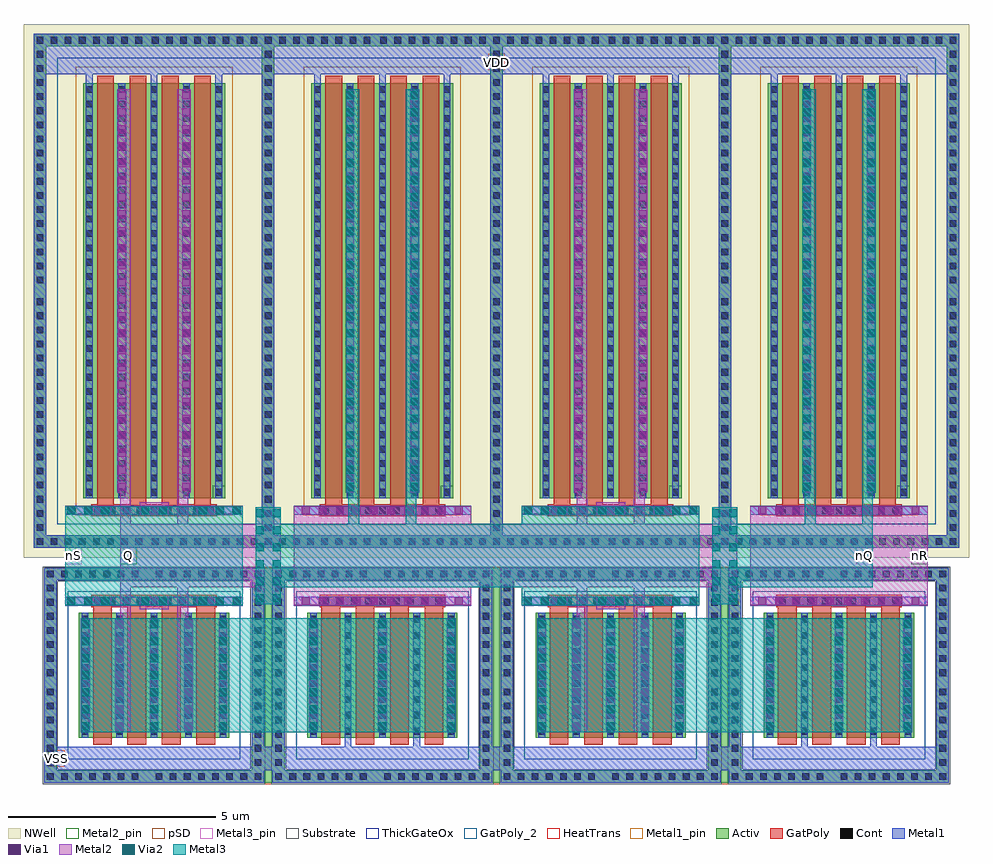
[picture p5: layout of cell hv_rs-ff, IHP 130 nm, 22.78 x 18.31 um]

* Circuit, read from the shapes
.subckt hv_rs-ff Q VDD VSS nQ nR nS
XM1 Q nS n1 VSS sg13_hv_nmos w=3u l=0.45u m=4
XM2 VSS nQ n1 VSS sg13_hv_nmos w=3u l=0.45u m=4
XM3 nQ Q n2 VSS sg13_hv_nmos w=3u l=0.45u m=4
XM4 VSS nR n2 VSS sg13_hv_nmos w=3u l=0.45u m=4
XM5 Q nS VDD VDD sg13_hv_pmos w=10u l=0.4u m=4
XM6 Q nQ VDD VDD sg13_hv_pmos w=10u l=0.4u m=4
XM7 nQ Q VDD VDD sg13_hv_pmos w=10u l=0.4u m=4
XM8 nQ nR VDD VDD sg13_hv_pmos w=10u l=0.4u m=4
.ends

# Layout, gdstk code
from math import pi, radians
import gdstk
lib = gdstk.Library(unit=1e-6, precision=1e-09)
def R(c, l, rs):  # rectangles x0, y0, x1, y1
    for r in rs: c.add(gdstk.rectangle(r[:2], r[2:], *l))
def A(c, l, x, y, w, h, nx, ny, dx, dy):  # array of equal rectangles
    R(c, l, [(x+i*dx, y+j*dy, x+i*dx+w, y+j*dy+h) for i in range(nx) for j in range(ny)])
def P(c, l, *ps):  # polygons
    for p in ps: c.add(gdstk.Polygon(p, *l))
Activ = (1, 0)
GatPoly = (5, 0)
GatPoly_2 = (5, 2)
Cont = (6, 0)
Metal1 = (8, 0)
Metal1_pin = (8, 2)
Metal2 = (10, 0)
Metal2_pin = (10, 2)
pSD = (14, 0)
Via1 = (19, 0)
Via2 = (29, 0)
Metal3 = (30, 0)
Metal3_pin = (30, 2)
NWell = (31, 0)
Substrate = (40, 0)
ThickGateOx = (44, 0)
HeatTrans = (51, 0)

via_stack_46 = lib.new_cell('via_stack$46')
R(via_stack_46, Metal1, [(-0.105,-1.375,0.105,1.375)])
R(via_stack_46, Metal2, [(-0.1,-1.375,0.1,1.375)])
A(via_stack_46, Via1, -0.095, -1.325, 0.19, 0.19, 1, 7, 0, 0.41)

via_stack_1_3 = lib.new_cell('via_stack$1$3')
R(via_stack_1_3, Metal1, [(-0.105,-1.375,0.105,1.375)])
R(via_stack_1_3, Metal2, [(-0.1,-1.375,0.1,1.375)])
A(via_stack_1_3, Via1, -0.095, -1.325, 0.19, 0.19, 1, 7, 0, 0.41)
A(via_stack_1_3, Via2, -0.095, -1.325, 0.19, 0.19, 1, 7, 0, 0.41)
R(via_stack_1_3, Metal3, [(-0.1,-1.375,0.1,1.375)])

nmoshv_12 = lib.new_cell('nmosHV$12')
A(nmoshv_12, Activ, 0, 0, 0.3, 0.3, 5, 1, 0.83, 0)
R(nmoshv_12, Activ, [(-0.84,-0.79,-0.54,3.79), (4.16,-0.79,4.46,3.79), (0,0,3.62,3), (-0.84,3.79,4.46,4.09)])
P(nmoshv_12, Activ, [(-0.84,-1.09),(-0.84,3.79),(-0.54,3.79),(-0.54,-0.79),(4.16,-0.79),(4.16,3.79),(-0.84,3.79),(-0.84,4.09),(4.46,4.09),(4.46,-1.09)])
A(nmoshv_12, GatPoly, 0.34, -0.18, 0.45, 3.36, 4, 1, 0.83, 0)
R(nmoshv_12, GatPoly_2, [(0.34,-0.18,0.79,3.18)])
A(nmoshv_12, Cont, -0.77, -1.02, 0.16, 0.16, 7, 2, 0.34, 4.88)
A(nmoshv_12, Cont, 1.85, -1.02, 0.16, 0.16, 8, 2, 0.34, 4.88)
A(nmoshv_12, Cont, -0.77, -0.68, 0.16, 0.16, 1, 6, 0, 0.34)
A(nmoshv_12, Cont, 4.23, -0.68, 0.16, 0.16, 1, 6, 0, 0.34)
A(nmoshv_12, Cont, 0.07, 0.07, 0.16, 0.16, 5, 7, 0.83, 0.385)
A(nmoshv_12, Cont, -0.77, 1.48, 0.16, 0.16, 1, 7, 0, 0.34)
A(nmoshv_12, Cont, 4.23, 1.48, 0.16, 0.16, 1, 7, 0, 0.34)
A(nmoshv_12, Cont, 0.07, 2.77, 0.16, 0.16, 5, 1, 0.83, 0)
A(nmoshv_12, Metal1, 0.07, 0, 0.16, 3, 5, 1, 0.83, 0)
R(nmoshv_12, Metal1, [(-0.84,-1.09,4.46,-0.79), (-0.84,-0.79,-0.54,3.79), (4.16,-0.79,4.46,3.79), (-0.84,3.79,4.46,4.09)])
R(nmoshv_12, Metal1_pin, [(0.07,0,0.23,3), (0.9,0,1.06,3)])
R(nmoshv_12, pSD, [(-0.87,-0.76,-0.51,3.76), (4.13,-0.76,4.49,3.76), (-0.87,3.76,4.49,4.12)])
P(nmoshv_12, pSD, [(-0.87,-1.12),(-0.87,3.76),(-0.51,3.76),(-0.51,-0.76),(4.13,-0.76),(4.13,3.76),(-0.87,3.76),(-0.87,4.12),(4.49,4.12),(4.49,-1.12)])
R(nmoshv_12, Substrate, [(-0.87,-0.76,-0.51,3.76), (4.13,-0.76,4.49,3.76), (-0.87,3.76,4.49,4.12)])
P(nmoshv_12, Substrate, [(-0.87,-1.12),(-0.87,3.76),(-0.51,3.76),(-0.51,-0.76),(4.13,-0.76),(4.13,3.76),(-0.87,3.76),(-0.87,4.12),(4.49,4.12),(4.49,-1.12)])
R(nmoshv_12, ThickGateOx, [(-0.27,-0.52,3.89,3.52)])
A(nmoshv_12, HeatTrans, 0.34, -0.18, 0.45, 3.36, 4, 1, 0.83, 0)
nmoshv_12.add(gdstk.Label('nmosHV', (0.565,1.5), layer=63, texttype=0))
nmoshv_12.add(gdstk.Label('sub!', (1.81,-0.94), layer=63, texttype=0))
nmoshv_12.add(gdstk.Label('nmosHV', (0.565,1.5), layer=51, texttype=0))
nmoshv_12.add(gdstk.Label('nmosHV', (1.395,1.5), layer=51, texttype=0))
nmoshv_12.add(gdstk.Label('nmosHV', (2.225,1.5), layer=51, texttype=0))
nmoshv_12.add(gdstk.Label('nmosHV', (3.055,1.5), layer=51, texttype=0))

via_stack_2_5 = lib.new_cell('via_stack$2$5')
R(via_stack_2_5, Metal1, [(-0.105,-4.86,0.105,4.86)])
R(via_stack_2_5, Metal2, [(-0.1,-4.86,0.1,4.86)])
A(via_stack_2_5, Via1, -0.095, -4.81, 0.19, 0.19, 1, 24, 0, 0.41)

via_stack_3_5 = lib.new_cell('via_stack$3$5')
R(via_stack_3_5, GatPoly, [(-0.15,-1.51,0.15,1.51)])
A(via_stack_3_5, Cont, -0.08, -1.44, 0.16, 0.16, 1, 9, 0, 0.34)
R(via_stack_3_5, Metal1, [(-0.08,-1.49,0.08,1.49)])

pmoshv_8 = lib.new_cell('pmosHV$8')
A(pmoshv_8, Activ, 0, 0, 0.3, 0.3, 5, 1, 0.78, 0)
R(pmoshv_8, Activ, [(-1.19,-0.89,-0.89,10.89), (4.31,-0.89,4.61,10.89), (0,0,3.42,10), (-1.19,10.89,4.61,11.19)])
P(pmoshv_8, Activ, [(-1.19,-1.19),(-1.19,10.89),(-0.89,10.89),(-0.89,-0.89),(4.31,-0.89),(4.31,10.89),(-1.19,10.89),(-1.19,11.19),(4.61,11.19),(4.61,-1.19)])
A(pmoshv_8, GatPoly, 0.34, -0.18, 0.4, 10.36, 4, 1, 0.78, 0)
R(pmoshv_8, GatPoly_2, [(0.34,-0.18,0.74,10.18)])
A(pmoshv_8, Cont, -1.12, -1.12, 0.16, 0.16, 8, 2, 0.34, 12.08)
A(pmoshv_8, Cont, 1.66, -1.12, 0.16, 0.16, 9, 2, 0.34, 12.08)
A(pmoshv_8, Cont, -1.12, -0.78, 0.16, 0.16, 1, 17, 0, 0.34)
A(pmoshv_8, Cont, 4.38, -0.78, 0.16, 0.16, 1, 17, 0, 0.34)
A(pmoshv_8, Cont, 0.07, 0.07, 0.16, 0.16, 5, 4, 0.78, 0.345)
A(pmoshv_8, Cont, 0.07, 1.455, 0.16, 0.16, 5, 3, 0.78, 0.345)
A(pmoshv_8, Cont, 0.07, 2.495, 0.16, 0.16, 5, 4, 0.78, 0.345)
A(pmoshv_8, Cont, 0.07, 3.88, 0.16, 0.16, 5, 3, 0.78, 0.345)
A(pmoshv_8, Cont, 0.07, 4.92, 0.16, 0.16, 5, 4, 0.78, 0.345)
A(pmoshv_8, Cont, -1.12, 5.18, 0.16, 0.16, 1, 17, 0, 0.34)
A(pmoshv_8, Cont, 4.38, 5.18, 0.16, 0.16, 1, 17, 0, 0.34)
A(pmoshv_8, Cont, 0.07, 6.305, 0.16, 0.16, 5, 3, 0.78, 0.345)
A(pmoshv_8, Cont, 0.07, 7.345, 0.16, 0.16, 5, 4, 0.78, 0.345)
A(pmoshv_8, Cont, 0.07, 8.73, 0.16, 0.16, 5, 3, 0.78, 0.345)
A(pmoshv_8, Cont, 0.07, 9.77, 0.16, 0.16, 5, 1, 0.78, 0)
A(pmoshv_8, Metal1, 0.07, 0, 0.16, 10, 5, 1, 0.78, 0)
R(pmoshv_8, Metal1, [(-1.19,-1.19,4.61,-0.89), (-1.19,-0.89,-0.89,10.89), (4.31,-0.89,4.61,10.89), (-1.19,10.89,4.61,11.19)])
R(pmoshv_8, Metal1_pin, [(0.07,0,0.23,10), (0.85,0,1.01,10)])
R(pmoshv_8, pSD, [(-0.18,-0.4,3.6,10.4)])
R(pmoshv_8, NWell, [(-1.43,-1.43,4.85,11.43), (-0.62,-0.62,4.04,10.62)])
R(pmoshv_8, Substrate, [(3.12,0,3.42,0.3)])
R(pmoshv_8, ThickGateOx, [(-0.62,-0.62,4.04,10.62)])
A(pmoshv_8, HeatTrans, 0.34, -0.18, 0.4, 10.36, 4, 1, 0.78, 0)
pmoshv_8.add(gdstk.Label('pmosHV', (0.54,5), layer=63, texttype=0))
pmoshv_8.add(gdstk.Label('well', (1.71,-1.04), layer=63, texttype=0))
pmoshv_8.add(gdstk.Label('pmos', (0.54,5), layer=51, texttype=0))
pmoshv_8.add(gdstk.Label('pmos', (1.32,5), layer=51, texttype=0))
pmoshv_8.add(gdstk.Label('pmos', (2.1,5), layer=51, texttype=0))
pmoshv_8.add(gdstk.Label('pmos', (2.88,5), layer=51, texttype=0))

via_stack_4_10 = lib.new_cell('via_stack$4$10')
R(via_stack_4_10, Metal1, [(-0.105,-0.35,0.105,0.35)])
R(via_stack_4_10, Metal2, [(-0.1,-0.35,0.1,0.35)])
R(via_stack_4_10, Via1, [(-0.095,-0.3,0.095,-0.11), (-0.095,0.11,0.095,0.3)])
R(via_stack_4_10, Via2, [(-0.095,-0.3,0.095,-0.11), (-0.095,0.11,0.095,0.3)])
R(via_stack_4_10, Metal3, [(-0.1,-0.35,0.1,0.35)])

via_stack_5_3 = lib.new_cell('via_stack$5$3')
R(via_stack_5_3, Metal1, [(-0.105,-0.555,0.105,0.555)])
R(via_stack_5_3, Metal2, [(-0.1,-0.555,0.1,0.555)])
A(via_stack_5_3, Via1, -0.095, -0.505, 0.19, 0.19, 1, 3, 0, 0.41)
A(via_stack_5_3, Via2, -0.095, -0.505, 0.19, 0.19, 1, 3, 0, 0.41)
R(via_stack_5_3, Metal3, [(-0.1,-0.555,0.1,0.555)])

via_stack_11_5 = lib.new_cell('via_stack$11$5')
R(via_stack_11_5, Metal1, [(-0.105,-4.86,0.105,4.86)])
R(via_stack_11_5, Metal2, [(-0.1,-4.86,0.1,4.86)])
A(via_stack_11_5, Via1, -0.095, -4.81, 0.19, 0.19, 1, 24, 0, 0.41)
A(via_stack_11_5, Via2, -0.095, -4.81, 0.19, 0.19, 1, 24, 0, 0.41)
R(via_stack_11_5, Metal3, [(-0.1,-4.86,0.1,4.86)])

via_stack_10_6 = lib.new_cell('via_stack$10$6')
R(via_stack_10_6, Metal1, [(-0.105,-1.99,0.105,1.99)])
R(via_stack_10_6, Metal2, [(-0.1,-1.99,0.1,1.99)])
A(via_stack_10_6, Via1, -0.095, -1.94, 0.19, 0.19, 1, 10, 0, 0.41)

via_stack_8_6 = lib.new_cell('via_stack$8$6')
R(via_stack_8_6, Metal2, [(-1.17,-0.305,1.17,0.305)])
A(via_stack_8_6, Via2, -1.12, -0.3, 0.19, 0.19, 6, 2, 0.41, 0.41)
R(via_stack_8_6, Metal3, [(-1.17,-0.305,1.17,0.305)])

hv_rs_ff = lib.new_cell('hv_rs-ff')
A(hv_rs_ff, Activ, 2.65, -5.47, 0.2, 5.18, 3, 1, 5.5, 0)
A(hv_rs_ff, Metal1, -2.14, -1.2, 4.28, 0.21, 4, 2, 5.5, 2.19)
A(hv_rs_ff, Metal1, -1.64, 11.38, 0.16, 0.22, 3, 1, 1.56, 0)
A(hv_rs_ff, Metal1, 3.86, 11.38, 0.16, 0.22, 3, 1, 1.56, 0)
A(hv_rs_ff, Metal1, 9.36, 11.38, 0.16, 0.22, 3, 1, 1.56, 0)
A(hv_rs_ff, Metal1, 14.86, 11.38, 0.16, 0.22, 3, 1, 1.56, 0)
R(hv_rs_ff, Metal1, [(-2.35,-5.17,18.85,-4.6), (4.59,-4.6,4.75,-4.38), (6.25,-4.6,6.41,-4.38), (15.59,-4.6,15.75,-4.38), (17.25,-4.6,17.41,-4.38), (-2.6,11.6,19.1,12.27)])
R(hv_rs_ff, Metal1_pin, [(-2.555,-5.09,-2.155,-4.69), (8.05,11.69,8.45,12.09)])
R(hv_rs_ff, Metal2, [(-0.82,-4.255,-0.56,11.24), (0.56,-4.255,0.82,11.24), (10.18,-4.255,10.44,11.24), (11.56,-4.255,11.82,11.24), (-0.35,-1.29,0.35,-0.995), (10.65,-1.29,11.35,-0.995), (3.36,-1.195,7.64,1.195), (14.36,-1.195,18.64,1.195), (-0.82,-0.755,3.055,0.755), (7.64,-0.755,14.055,0.755), (-0.35,0.995,0.35,1.29), (10.65,0.995,11.35,1.29)])
R(hv_rs_ff, Metal2_pin, [(-0.82,-0.2,-0.42,0.2), (18.24,-0.2,18.64,0.2)])
A(hv_rs_ff, pSD, 2.68, -5.5, 0.14, 5.24, 3, 1, 5.5, 0)
R(hv_rs_ff, Metal3, [(-1.76,-4.255,7.26,-1.505), (9.24,-4.255,18.26,-1.505), (-2.14,-1.195,2.14,1.195), (8.86,-1.195,13.14,1.195), (2.445,-0.755,8.86,0.755), (4.68,-0.755,4.94,11.24), (6.06,-0.755,6.32,11.24), (13.445,-0.755,17.32,0.755), (15.68,-0.755,15.94,11.24), (17.06,-0.755,17.32,11.24)])
R(hv_rs_ff, Metal3_pin, [(-2.14,-0.2,-1.74,0.2), (16.92,-0.2,17.32,0.2)])
A(hv_rs_ff, ThickGateOx, 2.33, 0.76, 0.84, 11.24, 3, 1, 5.5, 0)
hv_rs_ff.add(gdstk.Reference(via_stack_46, (-0.83,-2.88)))
hv_rs_ff.add(gdstk.Reference(via_stack_1_3, (-1.66,-2.88), rotation=pi))
hv_rs_ff.add(gdstk.Reference(via_stack_1_3, (0,-2.88)))
hv_rs_ff.add(gdstk.Reference(nmoshv_12, (-1.81,-4.38)))
hv_rs_ff.add(gdstk.Reference(via_stack_46, (0.83,-2.88)))
hv_rs_ff.add(gdstk.Reference(via_stack_1_3, (1.66,-2.88)))
hv_rs_ff.add(gdstk.Reference(via_stack_2_5, (0.78,6.38), rotation=pi))
hv_rs_ff.add(gdstk.Reference(via_stack_2_5, (-0.78,6.38), rotation=pi))
hv_rs_ff.add(gdstk.Reference(via_stack_3_5, (0,-1.095), rotation=pi/2))
hv_rs_ff.add(gdstk.Reference(via_stack_3_5, (0,1.095), rotation=pi/2))
hv_rs_ff.add(gdstk.Reference(pmoshv_8, (-1.71,1.38)))
hv_rs_ff.add(gdstk.Reference(via_stack_1_3, (3.84,-2.88), rotation=pi))
hv_rs_ff.add(gdstk.Reference(via_stack_4_10, (0,-1.095), rotation=pi/2))
hv_rs_ff.add(gdstk.Reference(via_stack_5_3, (-1.585,-1.095), rotation=pi/2))
hv_rs_ff.add(gdstk.Reference(via_stack_5_3, (1.585,-1.095), rotation=pi/2))
hv_rs_ff.add(gdstk.Reference(via_stack_4_10, (0,1.095), rotation=3*pi/2, x_reflection=True))
hv_rs_ff.add(gdstk.Reference(via_stack_5_3, (-1.585,1.095), rotation=3*pi/2, x_reflection=True))
hv_rs_ff.add(gdstk.Reference(via_stack_5_3, (1.585,1.095), rotation=3*pi/2, x_reflection=True))
hv_rs_ff.add(gdstk.Reference(via_stack_1_3, (5.5,-2.88)))
hv_rs_ff.add(gdstk.Reference(nmoshv_12, (3.69,-4.38)))
hv_rs_ff.add(gdstk.Reference(via_stack_1_3, (7.16,-2.88)))
hv_rs_ff.add(gdstk.Reference(via_stack_11_5, (6.28,6.38), rotation=pi))
hv_rs_ff.add(gdstk.Reference(via_stack_11_5, (4.72,6.38), rotation=pi))
hv_rs_ff.add(gdstk.Reference(via_stack_3_5, (5.5,-1.095), rotation=pi/2))
hv_rs_ff.add(gdstk.Reference(pmoshv_8, (3.79,1.38)))
hv_rs_ff.add(gdstk.Reference(via_stack_46, (10.17,-2.88)))
hv_rs_ff.add(gdstk.Reference(via_stack_1_3, (9.34,-2.88), rotation=pi))
hv_rs_ff.add(gdstk.Reference(via_stack_10_6, (5.5,1.095), rotation=3*pi/2, x_reflection=True))
hv_rs_ff.add(gdstk.Reference(via_stack_1_3, (11,-2.88)))
hv_rs_ff.add(gdstk.Reference(nmoshv_12, (9.19,-4.38)))
hv_rs_ff.add(gdstk.Reference(via_stack_3_5, (5.5,1.095), rotation=pi/2))
hv_rs_ff.add(gdstk.Reference(via_stack_8_6, (2.75,0), rotation=pi/2))
hv_rs_ff.add(gdstk.Reference(via_stack_10_6, (5.5,-1.095), rotation=pi/2))
hv_rs_ff.add(gdstk.Reference(via_stack_46, (11.83,-2.88)))
hv_rs_ff.add(gdstk.Reference(via_stack_1_3, (12.66,-2.88)))
hv_rs_ff.add(gdstk.Reference(via_stack_2_5, (11.78,6.38), rotation=pi))
hv_rs_ff.add(gdstk.Reference(via_stack_2_5, (10.22,6.38), rotation=pi))
hv_rs_ff.add(gdstk.Reference(via_stack_3_5, (11,-1.095), rotation=pi/2))
hv_rs_ff.add(gdstk.Reference(via_stack_3_5, (11,1.095), rotation=pi/2))
hv_rs_ff.add(gdstk.Reference(pmoshv_8, (9.29,1.38)))
hv_rs_ff.add(gdstk.Reference(via_stack_1_3, (14.84,-2.88), rotation=pi))
hv_rs_ff.add(gdstk.Reference(via_stack_4_10, (11,-1.095), rotation=pi/2))
hv_rs_ff.add(gdstk.Reference(via_stack_5_3, (9.415,-1.095), rotation=pi/2))
hv_rs_ff.add(gdstk.Reference(via_stack_5_3, (12.585,-1.095), rotation=pi/2))
hv_rs_ff.add(gdstk.Reference(via_stack_4_10, (11,1.095), rotation=3*pi/2, x_reflection=True))
hv_rs_ff.add(gdstk.Reference(via_stack_5_3, (9.415,1.095), rotation=3*pi/2, x_reflection=True))
hv_rs_ff.add(gdstk.Reference(via_stack_5_3, (12.585,1.095), rotation=3*pi/2, x_reflection=True))
hv_rs_ff.add(gdstk.Reference(via_stack_1_3, (16.5,-2.88)))
hv_rs_ff.add(gdstk.Reference(nmoshv_12, (14.69,-4.38)))
hv_rs_ff.add(gdstk.Reference(via_stack_1_3, (18.16,-2.88)))
hv_rs_ff.add(gdstk.Reference(via_stack_11_5, (17.28,6.38), rotation=pi))
hv_rs_ff.add(gdstk.Reference(via_stack_11_5, (15.72,6.38), rotation=pi))
hv_rs_ff.add(gdstk.Reference(via_stack_3_5, (16.5,-1.095), rotation=pi/2))
hv_rs_ff.add(gdstk.Reference(pmoshv_8, (14.79,1.38)))
hv_rs_ff.add(gdstk.Reference(via_stack_10_6, (16.5,1.095), rotation=3*pi/2, x_reflection=True))
hv_rs_ff.add(gdstk.Reference(via_stack_3_5, (16.5,1.095), rotation=pi/2))
hv_rs_ff.add(gdstk.Reference(via_stack_8_6, (13.75,0), rotation=pi/2))
hv_rs_ff.add(gdstk.Reference(via_stack_10_6, (16.5,-1.095), rotation=pi/2))
hv_rs_ff.add(gdstk.Label('VDD', (8.25,11.89), layer=8, texttype=25))
hv_rs_ff.add(gdstk.Label('VSS', (-2.355,-4.89), layer=8, texttype=25))
hv_rs_ff.add(gdstk.Label('Q', (-0.62,0), layer=10, texttype=25))
hv_rs_ff.add(gdstk.Label('nR', (18.44,0), layer=10, texttype=25))
hv_rs_ff.add(gdstk.Label('nQ', (17.12,0), layer=30, texttype=2))
hv_rs_ff.add(gdstk.Label('nS', (-1.94,0), layer=30, texttype=25))

lib.write_gds('hv_rs-ff.gds')
